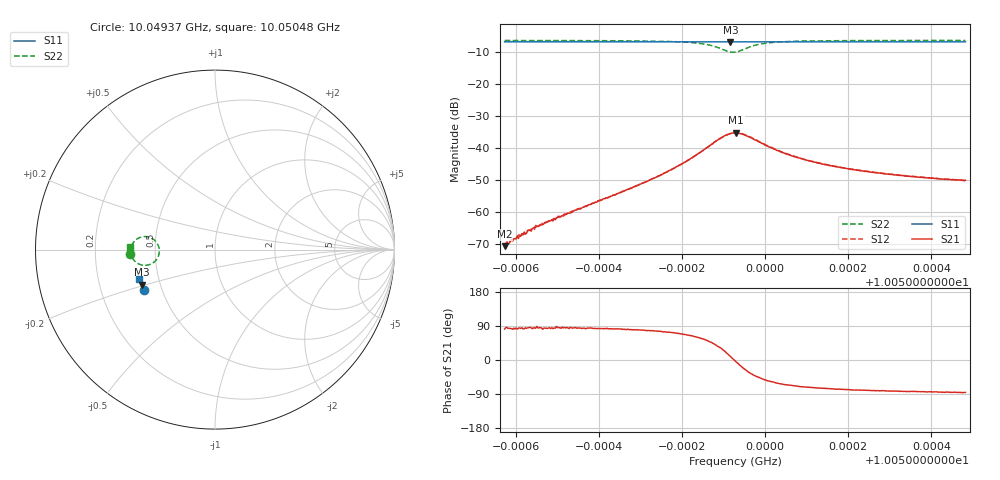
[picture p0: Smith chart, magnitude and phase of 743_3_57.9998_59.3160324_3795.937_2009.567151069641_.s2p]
#  HZ  S  RI  R  50.00
! Rohde & Schwarz Vector Network Analyzer
! Rohde-Schwarz,ZNB20-2Port,1311601062101988,3.16
! Created: UTC 3/21/2024, 1:23:41 AM
! freq[Hz]  re:S11  im:S11  re:S21  im:S21  re:S12  im:S12  re:S22  im:S22
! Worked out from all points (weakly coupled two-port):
!   401 points, 10.04937 GHz to 10.05048 GHz, reference 50 ohm
!   highest |S21| = -35.35 dB at 10.04993 GHz (marker M1); lowest = -70.8 dB at 10.04937 GHz (marker M2)
!   lowest |S11| = -6.9 dB at 10.04992 GHz (marker M3), VSWR 2.64, Z = 19.7 - j9.64 ohm
!   |S11| at or under -10 dB: nowhere
!   |S22| runs from -10.2 to -6.5 dB; largest |S21 - S12| = 0.0015
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1.0049373e10  -0.3931 -0.2272  4.23e-05 0.000285  2.23e-05 0.000301  -0.4739 -0.0238
1.0049409e10  -0.3941 -0.2252  3.78e-05 0.00043  1.2e-05 0.000437  -0.4737 -0.0204
1.004942e10  -0.3945 -0.2245  6.44e-05 0.000474  2.79e-05 0.000446  -0.4737 -0.0191
1.0049445e10  -0.3952 -0.223  5.08e-05 0.000568  1.24e-05 0.000526  -0.4735 -0.0166
1.0049453e10  -0.3955 -0.2225  5.82e-05 0.00058  4.78e-06 0.000592  -0.4735 -0.0159
1.0049559e10  -0.3987 -0.2163  0.000136 0.00113  2.37e-05 0.00112  -0.4723 -0.00379
1.0049675e10  -0.4022 -0.2092  0.000376 0.00227  0.000238 0.00228  -0.4681 0.0142
1.0049744e10  -0.4043 -0.2051  0.000877 0.00351  0.000679 0.00356  -0.4611 0.0303
1.0049805e10  -0.4056 -0.2012  0.00224 0.00545  0.0019 0.00553  -0.4454 0.0506
1.004985e10  -0.4066 -0.1984  0.00507 0.00743  0.00454 0.00769  -0.4154 0.0685
1.0049889e10  -0.4071 -0.1958  0.0112 0.00774  0.0105 0.00837  -0.3573 0.0655
1.0049916e10  -0.407 -0.1945  0.0165 0.00274  0.0161 0.00392  -0.313 0.0139
1.0049927e10  -0.4074 -0.1943  0.017 -0.000712  0.017 0.000815  -0.3109 -0.0183
1.004993e10  -0.4074 -0.1942  0.017 -0.00152  0.0171 -0.000152  -0.3124 -0.0264
1.0049944e10  -0.4079 -0.1939  0.0156 -0.00517  0.016 -0.00405  -0.3303 -0.0606
1.0049961e10  -0.4085 -0.1932  0.0125 -0.00804  0.0132 -0.00695  -0.3628 -0.0827
1.0049999e10  -0.4101 -0.191  0.00668 -0.00875  0.00737 -0.00841  -0.4212 -0.0816
1.0050044e10  -0.4114 -0.1884  0.00363 -0.00748  0.00418 -0.00729  -0.45 -0.0618
1.0050113e10  -0.4136 -0.184  0.00182 -0.00578  0.00217 -0.00569  -0.4655 -0.0377
1.0050188e10  -0.4155 -0.1794  0.00105 -0.00471  0.00134 -0.00466  -0.4712 -0.0212
1.0050299e10  -0.4183 -0.1725  0.000553 -0.00378  0.000781 -0.00379  -0.4739 -0.00427
1.0050482e10  -0.4224 -0.1611  0.000235 -0.00308  0.000392 -0.00304  -0.4748 0.0154
